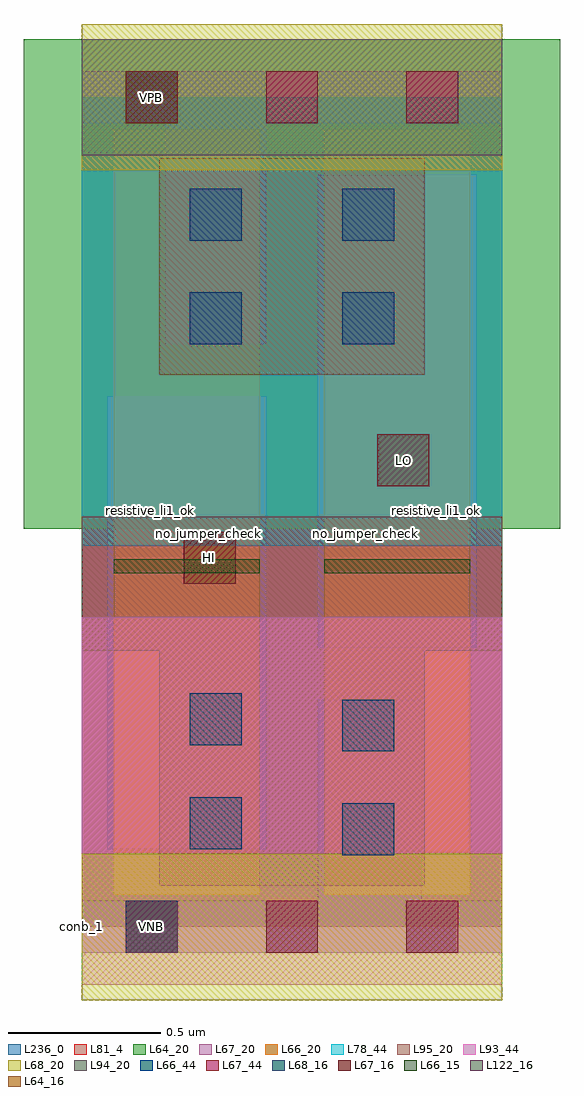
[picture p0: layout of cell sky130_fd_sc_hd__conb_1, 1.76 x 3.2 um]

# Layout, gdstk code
import gdstk
lib = gdstk.Library(unit=1e-6, precision=1e-09)
def R(c, l, rs):  # rectangles x0, y0, x1, y1
    for r in rs: c.add(gdstk.rectangle(r[:2], r[2:], *l))
def A(c, l, x, y, w, h, nx, ny, dx, dy):  # array of equal rectangles
    R(c, l, [(x+i*dx, y+j*dy, x+i*dx+w, y+j*dy+h) for i in range(nx) for j in range(ny)])
def P(c, l, *ps):  # polygons
    for p in ps: c.add(gdstk.Polygon(p, *l))
L64_16 = (64, 16)
L64_20 = (64, 20)
L66_15 = (66, 15)
L66_20 = (66, 20)
L66_44 = (66, 44)
L67_16 = (67, 16)
L67_20 = (67, 20)
L67_44 = (67, 44)
L68_16 = (68, 16)
L68_20 = (68, 20)
L78_44 = (78, 44)
L81_4 = (81, 4)
L93_44 = (93, 44)
L94_20 = (94, 20)
L95_20 = (95, 20)
L122_16 = (122, 16)
L236_0 = (236, 0)

sky130_fd_sc_hd__conb_1 = lib.new_cell('sky130_fd_sc_hd__conb_1')
R(sky130_fd_sc_hd__conb_1, L64_16, [(0.145,2.635,0.315,2.805)])
R(sky130_fd_sc_hd__conb_1, L64_20, [(-0.19,1.305,1.57,2.91)])
R(sky130_fd_sc_hd__conb_1, L66_15, [(0.105,1.16,0.585,1.205), (0.795,1.16,1.275,1.205)])
R(sky130_fd_sc_hd__conb_1, L66_20, [(0.105,0.105,0.585,2.615), (0.795,0.105,1.275,2.615)])
R(sky130_fd_sc_hd__conb_1, L66_44, [(0.855,0.235,1.025,0.405), (0.355,0.255,0.525,0.425), (0.855,0.575,1.025,0.745), (0.355,0.595,0.525,0.765), (0.355,1.91,0.525,2.08), (0.855,1.91,1.025,2.08), (0.355,2.25,0.525,2.42), (0.855,2.25,1.025,2.42)])
R(sky130_fd_sc_hd__conb_1, L67_16, [(0.335,1.125,0.505,1.295), (0.97,1.445,1.14,1.615)])
R(sky130_fd_sc_hd__conb_1, L67_20, [(0.085,0.255,0.605,1.74), (0.775,0.915,1.295,2.465)])
P(sky130_fd_sc_hd__conb_1, L67_20, [(0,-0.085),(0,0.085),(0.775,0.085),(0.775,0.745),(1.115,0.745),(1.115,0.085),(1.38,0.085),(1.38,-0.085)],
  [(0.275,1.91),(0.275,2.635),(0,2.635),(0,2.805),(1.38,2.805),(1.38,2.635),(0.605,2.635),(0.605,1.91)])
A(sky130_fd_sc_hd__conb_1, L67_44, 0.145, -0.085, 0.17, 0.17, 3, 2, 0.46, 2.72)
R(sky130_fd_sc_hd__conb_1, L68_16, [(0.145,-0.085,0.315,0.085), (0.145,2.635,0.315,2.805)])
R(sky130_fd_sc_hd__conb_1, L78_44, [(0,1.25,1.38,2.72)])
R(sky130_fd_sc_hd__conb_1, L81_4, [(0,0,1.38,2.72)])
R(sky130_fd_sc_hd__conb_1, L93_44, [(0,-0.19,1.38,1.015)])
R(sky130_fd_sc_hd__conb_1, L94_20, [(0,2.53,1.38,2.91)])
R(sky130_fd_sc_hd__conb_1, L95_20, [(0.255,1.81,1.125,2.52)])
P(sky130_fd_sc_hd__conb_1, L95_20, [(0.255,0.135),(0.255,0.905),(0,0.905),(0,1.345),(1.38,1.345),(1.38,0.905),(1.125,0.905),(1.125,0.135)])
R(sky130_fd_sc_hd__conb_1, L122_16, [(0.145,-0.085,0.315,0.085)])
R(sky130_fd_sc_hd__conb_1, L236_0, [(0,0,1.38,2.72)])
sky130_fd_sc_hd__conb_1.add(gdstk.FlexPath([(0,0),(1.38,0)], 0.48, ends="flush", simple_path=True, layer=68, datatype=20))  # L68_20
sky130_fd_sc_hd__conb_1.add(gdstk.FlexPath([(0,2.72),(1.38,2.72)], 0.48, ends="flush", simple_path=True, layer=68, datatype=20))  # L68_20
sky130_fd_sc_hd__conb_1.add(gdstk.Label('LO', (1.055,1.53), layer=67, texttype=5))
sky130_fd_sc_hd__conb_1.add(gdstk.Label('HI', (0.42,1.21), layer=67, texttype=5))
sky130_fd_sc_hd__conb_1.add(gdstk.Label('VNB', (0.23,0), layer=64, texttype=59))
sky130_fd_sc_hd__conb_1.add(gdstk.Label('VPB', (0.23,2.72), layer=64, texttype=5))
sky130_fd_sc_hd__conb_1.add(gdstk.Label('VGND', (0.23,0), layer=68, texttype=5))
sky130_fd_sc_hd__conb_1.add(gdstk.Label('VPWR', (0.23,2.72), layer=68, texttype=5))
sky130_fd_sc_hd__conb_1.add(gdstk.Label('conb_1', (0,0), layer=83, texttype=44))
sky130_fd_sc_hd__conb_1.add(gdstk.Label('resistive_li1_ok', (0.225,1.365), layer=83, texttype=44))
sky130_fd_sc_hd__conb_1.add(gdstk.Label('resistive_li1_ok', (1.165,1.365), layer=83, texttype=44))
sky130_fd_sc_hd__conb_1.add(gdstk.Label('no_jumper_check', (0.93,1.29), layer=83, texttype=44))
sky130_fd_sc_hd__conb_1.add(gdstk.Label('no_jumper_check', (0.415,1.29), layer=83, texttype=44))

lib.write_gds('sky130_fd_sc_hd__conb_1.gds')
